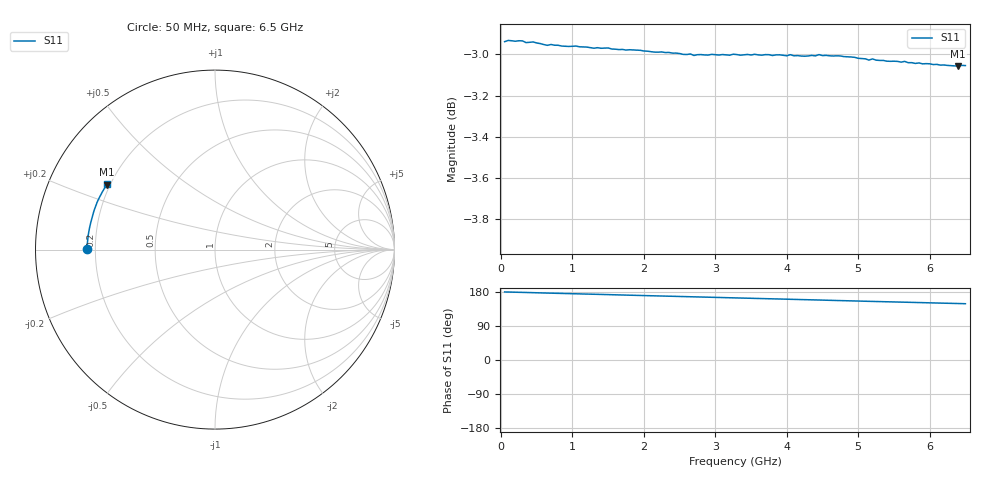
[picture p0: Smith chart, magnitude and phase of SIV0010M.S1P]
! (c) 1999  Infineon Technologies AG, Munich
! Infineon Technologies  Discrete & RF Semiconductors
! BAT24-02LS
! Si Schottky Diode in TSSLP-2
! IF = 10 mA
! S-Parameters:  July  2007
# GHz  S  MA  R  50
!  f  S11
! GHz  MAG  ANG
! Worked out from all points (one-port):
!   130 points, 50 MHz to 6.5 GHz, reference 50 ohm
!   lowest |S11| = -3.1 dB at 6.4 GHz (marker M1), VSWR 5.74, Z = 9.35 + j13.4 ohm
!   |S11| at or under -10 dB: nowhere
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0.05  0.713 179.6
0.15  0.7134 179.2
0.3  0.7134 178.4
0.9  0.7112 175.4
1.1  0.711 174.4
1.2  0.7109 174.0
1.35  0.7106 173.2
1.45  0.7105 172.8
1.55  0.7101 172.2
1.65  0.7099 171.8
1.7  0.7099 171.5
1.8  0.7098 171.1
2  0.7093 170.0
2.1  0.709 169.6
2.5  0.7083 167.6
2.85  0.7077 166.0
3.3  0.7079 163.8
3.5  0.7077 162.8
3.75  0.7078 161.7
4  0.7074 160.4
4.1  0.7074 160.0
4.45  0.7079 158.3
4.9  0.7069 156.0
5.7  0.7047 152.3
6  0.7043 150.8
6.15  0.7037 150.2
6.4  0.7034 149.0
6.5  0.7036 148.5
